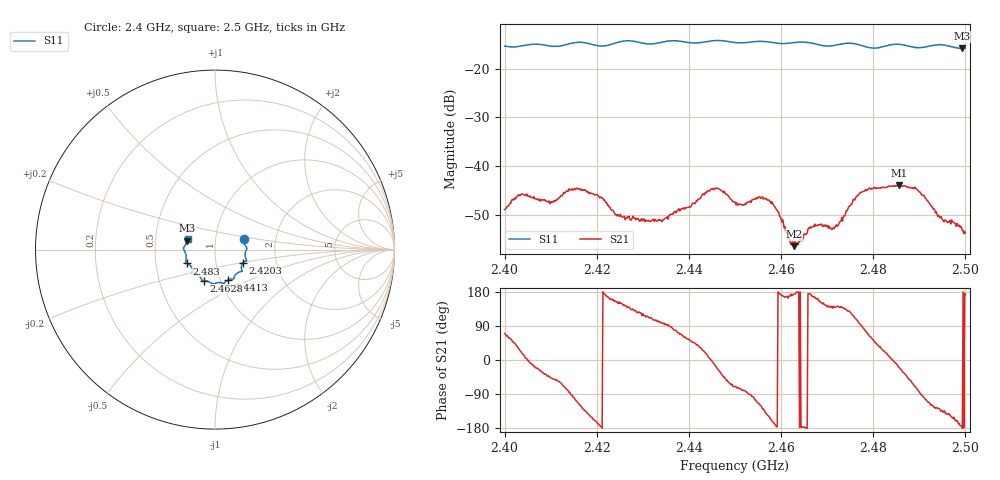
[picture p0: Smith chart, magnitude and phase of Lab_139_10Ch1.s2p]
# Hz S RI R 50
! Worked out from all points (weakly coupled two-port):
!   601 points, 2.4 GHz to 2.5 GHz, reference 50 ohm
!   highest |S21| = -43.97 dB at 2.4857 GHz (marker M1); lowest = -56.5 dB at 2.4628 GHz (marker M2)
!   lowest |S11| = -15.8 dB at 2.4993 GHz (marker M3), VSWR 1.39, Z = 36.5 + j3.7 ohm
!   |S11| at or under -10 dB: start of sweep to end of sweep
!   S12 and S22 are empty: the file has one direction only
!   S11 on the Smith chart (normalised r, x): 2.4 GHz: 1.37, +0.16; 2.4203 GHz: 1.35, -0.21; 2.4413 GHz: 1.09, -0.38; 2.4628 GHz: 0.83, -0.30; 2.483 GHz: 0.72, -0.11; 2.5 GHz: 0.73, +0.09
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2.4e9  0.1607 0.057  0.00125 0.00334  0 0  0 0
2.4035e9  0.1693 0.0216  0.00463 0.00197  0 0  0 0
2.410333e9  0.1692 -0.0131  0.00286 -0.00322  0 0  0 0
2.416667e9  0.1763 -0.0613  -0.00315 -0.00485  0 0  0 0
2.420333e9  0.1552 -0.0741  -0.00486 -0.000967  0 0  0 0
2.4245e9  0.1491 -0.1119  -0.00278 0.00153  0 0  0 0
2.433333e9  0.1082 -0.1485  -0.000534 0.00273  0 0  0 0
2.441333e9  0.0744 -0.1681  0.00293 0.00287  0 0  0 0
2.446167e9  0.0494 -0.1888  0.00542 -0.00218  0 0  0 0
2.45e9  0.0294 -0.1836  0.00147 -0.00399  0 0  0 0
2.457667e9  -0.0205 -0.1863  -0.00395 -0.00179  0 0  0 0
2.462833e9  -0.0631 -0.1747  -0.00149 0.000156  0 0  0 0
2.466667e9  -0.0741 -0.1676  -0.0023 0.000453  0 0  0 0
2.471333e9  -0.105 -0.1374  -0.00183 0.00143  0 0  0 0
2.477333e9  -0.124 -0.1219  -0.000134 0.00537  0 0  0 0
2.483e9  -0.155 -0.0769  0.00584 0.0018  0 0  0 0
2.483333e9  -0.1573 -0.0758  0.00609 0.00119  0 0  0 0
2.485667e9  -0.164 -0.0693  0.00595 -0.00215  0 0  0 0
2.4895e9  -0.1607 -0.0348  0.00134 -0.00555  0 0  0 0
2.494833e9  -0.1759 0.00987  -0.00197 -0.00214  0 0  0 0
2.499333e9  -0.1542 0.0494  -0.00217 -3.05e-06  0 0  0 0
2.5e9  -0.1526 0.0585  -0.00204 0.000257  0 0  0 0
